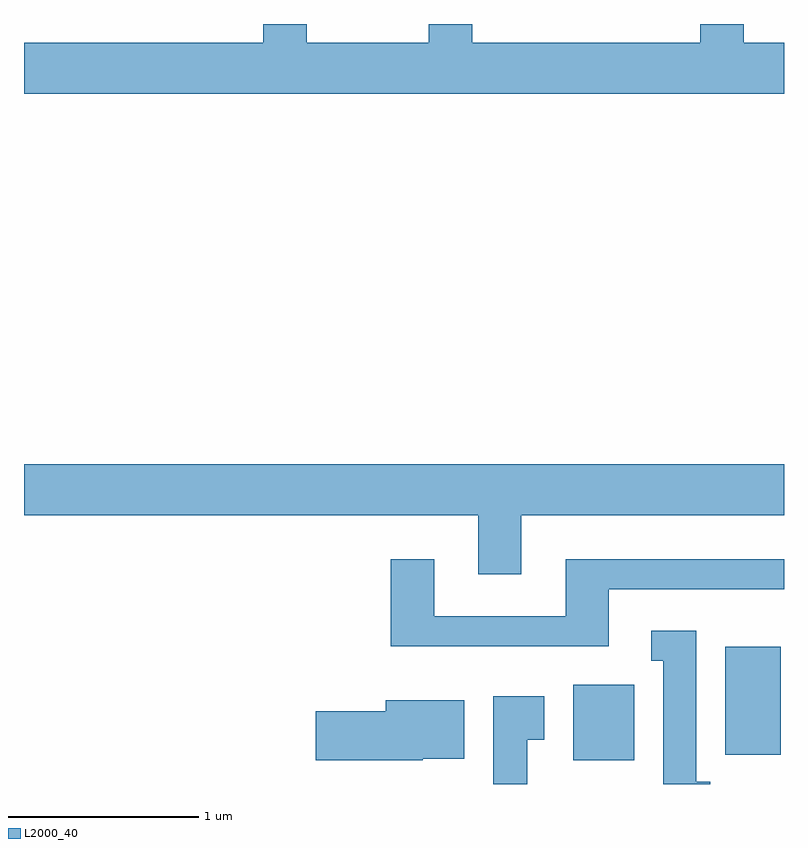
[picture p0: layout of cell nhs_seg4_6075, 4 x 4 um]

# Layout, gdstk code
import gdstk
lib = gdstk.Library(unit=1e-6, precision=1e-09)
def R(c, l, rs):  # rectangles x0, y0, x1, y1
    for r in rs: c.add(gdstk.rectangle(r[:2], r[2:], *l))
def P(c, l, *ps):  # polygons
    for p in ps: c.add(gdstk.Polygon(p, *l))
L2000_40 = (2000, 40)

nhs_seg4_6075 = lib.new_cell('nhs_seg4_6075')
R(nhs_seg4_6075, L2000_40, [(366.501,1300.106,366.824,1300.504), (367.301,1300.136,367.594,1300.704)])
P(nhs_seg4_6075, L2000_40, [(367.611,1303.884),(367.399,1303.884),(367.399,1303.982),(367.171,1303.982),(367.171,1303.884),(365.969,1303.884),(365.969,1303.982),(365.741,1303.982),(365.741,1303.884),(365.099,1303.884),(365.099,1303.982),(364.871,1303.982),(364.871,1303.884),(363.611,1303.884),(363.611,1303.616),(367.611,1303.616)],
  [(366.229,1301.396),(367.611,1301.396),(367.611,1301.664),(363.611,1301.664),(363.611,1301.396),(366.001,1301.396),(366.001,1301.086),(366.229,1301.086)],
  [(366.689,1301.006),(367.611,1301.006),(367.611,1301.164),(366.461,1301.164),(366.461,1300.864),(365.769,1300.864),(365.769,1301.164),(365.541,1301.164),(365.541,1300.706),(366.689,1300.706)],
  [(367.224,1299.994),(367.149,1299.994),(367.149,1300.789),(366.913,1300.789),(366.913,1300.631),(366.976,1300.631),(366.976,1299.982),(367.224,1299.982)],
  [(366.259,1300.216),(366.349,1300.216),(366.349,1300.444),(366.081,1300.444),(366.081,1299.982),(366.259,1299.982)],
  [(365.71,1300.116),(365.929,1300.116),(365.929,1300.424),(365.516,1300.424),(365.516,1300.364),(365.146,1300.364),(365.146,1300.106),(365.71,1300.106)])

lib.write_gds('nhs_seg4_6075.gds')
